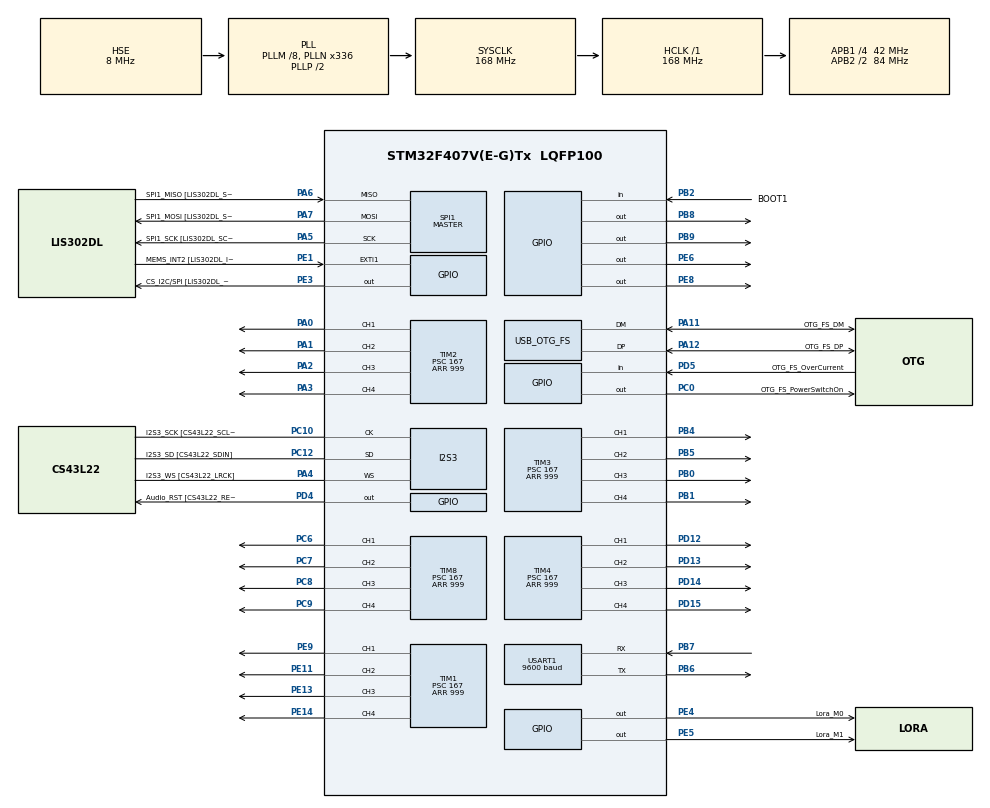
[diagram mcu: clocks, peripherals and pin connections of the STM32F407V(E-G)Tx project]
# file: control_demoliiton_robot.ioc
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I2S3.ErrorAudioFreq=0.0 %
I2S3.FullDuplexMode=I2S_FULLDUPLEXMODE_DISABLE
I2S3.Instance=SPI$Index
I2S3.RealAudioFreq=8.0 KHz
I2S3.VirtualMode=I2S_MODE_MASTER
Mcu.Family=STM32F4
Mcu.Name=STM32F407V(E-G)Tx
Mcu.Package=LQFP100
NVIC.OTG_FS_IRQn=true\:0\:0\:false\:false\:true\:true\:true\:true
NVIC.PriorityGroup=NVIC_PRIORITYGROUP_0
NVIC.USART1_IRQn=true\:0\:0\:false\:false\:true\:true\:true\:true
PA0-WKUP.Signal=S_TIM2_CH1_ETR
PA1.GPIO_Speed=GPIO_SPEED_FREQ_VERY_HIGH
PA1.Signal=S_TIM2_CH2
PA11.GPIO_Label=OTG_FS_DM
PA11.GPIO_Mode=GPIO_MODE_AF_PP
PA11.GPIO_PuPd=GPIO_NOPULL
PA11.GPIO_Speed=GPIO_SPEED_FREQ_LOW
PA11.Mode=Device_Only
PA11.Signal=USB_OTG_FS_DM
PA12.GPIO_Label=OTG_FS_DP
PA12.GPIO_Mode=GPIO_MODE_AF_PP
PA12.GPIO_PuPd=GPIO_NOPULL
PA12.GPIO_Speed=GPIO_SPEED_FREQ_LOW
PA12.Mode=Device_Only
PA12.Signal=USB_OTG_FS_DP
PA13.GPIO_Label=SWDIO
PA13.Mode=Serial_Wire
PA13.Signal=SYS_JTMS-SWDIO
PA14.GPIO_Label=SWCLK
PA14.Mode=Serial_Wire
PA14.Signal=SYS_JTCK-SWCLK
PA2.Signal=S_TIM2_CH3
PA3.Signal=S_TIM2_CH4
PA4.GPIO_Label=I2S3_WS [CS43L22_LRCK]
PA4.GPIO_Mode=GPIO_MODE_AF_PP
PA4.GPIO_PuPd=GPIO_NOPULL
PA4.GPIO_Speed=GPIO_SPEED_FREQ_LOW
PA4.Mode=Half_Duplex_Master
PA4.Signal=I2S3_WS
PA5.GPIO_Label=SPI1_SCK [LIS302DL_SCL/SPC]
PA5.GPIO_Mode=GPIO_MODE_AF_PP
PA5.GPIO_PuPd=GPIO_NOPULL
PA5.GPIO_Speed=GPIO_SPEED_FREQ_LOW
PA5.Mode=Full_Duplex_Master
PA5.Signal=SPI1_SCK
PA6.GPIO_Label=SPI1_MISO [LIS302DL_SDO]
PA6.GPIO_Mode=GPIO_MODE_AF_PP
PA6.GPIO_PuPd=GPIO_NOPULL
PA6.GPIO_Speed=GPIO_SPEED_FREQ_LOW
PA6.Mode=Full_Duplex_Master
PA6.Signal=SPI1_MISO
PA7.GPIO_Label=SPI1_MOSI [LIS302DL_SDA/SDI/SDO]
PA7.GPIO_Mode=GPIO_MODE_AF_PP
PA7.GPIO_PuPd=GPIO_NOPULL
PA7.GPIO_Speed=GPIO_SPEED_FREQ_LOW
PA7.Mode=Full_Duplex_Master
PA7.Signal=SPI1_MOSI
PB0.GPIO_Speed=GPIO_SPEED_FREQ_HIGH
PB0.Signal=S_TIM3_CH3
PB1.Signal=S_TIM3_CH4
PB10.GPIO_Label=CLK_IN [MP45DT02_CLK]
PB10.GPIO_Mode=GPIO_MODE_AF_PP
PB10.GPIO_PuPd=GPIO_NOPULL
PB10.GPIO_Speed=GPIO_SPEED_FREQ_LOW
PB10.Signal=I2S2_CK
PB2.GPIO_Label=BOOT1
PB2.GPIO_Mode=GPIO_MODE_INPUT
PB2.GPIO_PuPd=GPIO_NOPULL
PB2.Signal=GPIO_Input
PB3.GPIO_Label=SWO
PB3.Signal=SYS_JTDO-SWO
PB4.Signal=S_TIM3_CH1
PB5.Signal=S_TIM3_CH2
PB6.Mode=Asynchronous
PB6.Signal=USART1_TX
PB7.Mode=Asynchronous
PB7.Signal=USART1_RX
PB8.Signal=GPIO_Output
PB9.Signal=GPIO_Output
PC0.GPIO_Label=OTG_FS_PowerSwitchOn
PC0.GPIO_PuPd=GPIO_NOPULL
PC0.GPIO_Speed=GPIO_SPEED_FREQ_LOW
PC0.PinState=GPIO_PIN_SET
PC0.Signal=GPIO_Output
PC10.GPIO_Label=I2S3_SCK [CS43L22_SCLK]
PC10.GPIO_Mode=GPIO_MODE_AF_PP
PC10.GPIO_PuPd=GPIO_NOPULL
PC10.GPIO_Speed=GPIO_SPEED_FREQ_LOW
PC10.Mode=Half_Duplex_Master
PC10.Signal=I2S3_CK
PC12.GPIO_Label=I2S3_SD [CS43L22_SDIN]
PC12.GPIO_Mode=GPIO_MODE_AF_PP
PC12.GPIO_PuPd=GPIO_NOPULL
PC12.GPIO_Speed=GPIO_SPEED_FREQ_LOW
PC12.Mode=Half_Duplex_Master
PC12.Signal=I2S3_SD
PC14-OSC32_IN.GPIO_Label=PC14-OSC32_IN
PC14-OSC32_IN.Mode=LSE-External-Oscillator
PC14-OSC32_IN.Signal=RCC_OSC32_IN
PC15-OSC32_OUT.GPIO_Label=PC15-OSC32_OUT
PC15-OSC32_OUT.Mode=LSE-External-Oscillator
PC15-OSC32_OUT.Signal=RCC_OSC32_OUT
PC3.GPIO_Label=PDM_OUT [MP45DT02_DOUT]
PC3.GPIO_Mode=GPIO_MODE_AF_PP
PC3.GPIO_PuPd=GPIO_NOPULL
PC3.GPIO_Speed=GPIO_SPEED_FREQ_LOW
PC3.Signal=I2S2_SD
PC6.Signal=S_TIM8_CH1
PC7.Signal=S_TIM8_CH2
PC8.Signal=S_TIM8_CH3
PC9.Signal=S_TIM8_CH4
PD12.Signal=S_TIM4_CH1
PD13.Signal=S_TIM4_CH2
PD14.Signal=S_TIM4_CH3
PD15.Signal=S_TIM4_CH4
PD4.GPIO_Label=Audio_RST [CS43L22_RESET]
PD4.GPIO_PuPd=GPIO_NOPULL
PD4.GPIO_Speed=GPIO_SPEED_FREQ_LOW
PD4.Signal=GPIO_Output
PD5.GPIO_Label=OTG_FS_OverCurrent
PD5.GPIO_Mode=GPIO_MODE_INPUT
PD5.GPIO_PuPd=GPIO_NOPULL
PD5.Signal=GPIO_Input
PE1.GPIO_Label=MEMS_INT2 [LIS302DL_INT2]
PE1.GPIO_ModeDefaultEXTI=GPIO_MODE_EVT_RISING
PE1.GPIO_PuPd=GPIO_NOPULL
PE1.Signal=GPXTI1
PE11.Signal=S_TIM1_CH2
PE13.Signal=S_TIM1_CH3
PE14.Signal=S_TIM1_CH4
PE3.GPIO_Label=CS_I2C/SPI [LIS302DL_CS_I2C/SPI]
PE3.GPIO_PuPd=GPIO_NOPULL
PE3.GPIO_Speed=GPIO_SPEED_FREQ_LOW
PE3.Signal=GPIO_Output
PE4.GPIO_Label=Lora_M0
PE4.Signal=GPIO_Output
PE5.GPIO_Label=Lora_M1
PE5.Signal=GPIO_Output
PE6.Signal=GPIO_Output
PE8.Signal=GPIO_Output
PE9.GPIO_Speed=GPIO_SPEED_FREQ_HIGH
PE9.Signal=S_TIM1_CH1
PH0-OSC_IN.GPIO_Label=PH0-OSC_IN
PH0-OSC_IN.Mode=HSE-External-Oscillator
PH0-OSC_IN.Signal=RCC_OSC_IN
PH1-OSC_OUT.GPIO_Label=PH1-OSC_OUT
PH1-OSC_OUT.Mode=HSE-External-Oscillator
PH1-OSC_OUT.Signal=RCC_OSC_OUT
ProjectManager.HeapSize=0x200
ProjectManager.StackSize=0x400
ProjectManager.TargetToolchain=STM32CubeIDE
RCC.48MHZClocksFreq_Value=48000000
RCC.AHBFreq_Value=168000000
RCC.APB1CLKDivider=RCC_HCLK_DIV4
RCC.APB1Freq_Value=42000000
RCC.APB1TimFreq_Value=84000000
RCC.APB2CLKDivider=RCC_HCLK_DIV2
RCC.APB2Freq_Value=84000000
RCC.APB2TimFreq_Value=168000000
RCC.CortexFreq_Value=168000000
RCC.HCLKFreq_Value=168000000
RCC.HSE_VALUE=8000000
RCC.HSI_VALUE=16000000
RCC.PLLM=8
RCC.PLLN=336
RCC.PLLQ=7
RCC.SYSCLKFreq_VALUE=168000000
RCC.SYSCLKSource=RCC_SYSCLKSOURCE_PLLCLK
RCC.VCOOutputFreq_Value=336000000
SH.S_TIM1_CH1.0=TIM1_CH1,PWM Generation1 CH1
SH.S_TIM1_CH2.0=TIM1_CH2,PWM Generation2 CH2
SH.S_TIM1_CH3.0=TIM1_CH3,PWM Generation3 CH3
SH.S_TIM1_CH4.0=TIM1_CH4,Output Compare4 CH4
SH.S_TIM2_CH1_ETR.0=TIM2_CH1,PWM Generation1 CH1
SH.S_TIM2_CH2.0=TIM2_CH2,PWM Generation2 CH2
SH.S_TIM2_CH3.0=TIM2_CH3,PWM Generation3 CH3
SH.S_TIM2_CH4.0=TIM2_CH4,PWM Generation4 CH4
SH.S_TIM3_CH1.0=TIM3_CH1,PWM Generation1 CH1
SH.S_TIM3_CH2.0=TIM3_CH2,PWM Generation2 CH2
SH.S_TIM3_CH3.0=TIM3_CH3,PWM Generation3 CH3
SH.S_TIM3_CH4.0=TIM3_CH4,PWM Generation4 CH4
SH.S_TIM4_CH1.0=TIM4_CH1,PWM Generation1 CH1
SH.S_TIM4_CH2.0=TIM4_CH2,PWM Generation2 CH2
SH.S_TIM4_CH3.0=TIM4_CH3,PWM Generation3 CH3
SH.S_TIM4_CH4.0=TIM4_CH4,PWM Generation4 CH4
SH.S_TIM8_CH1.0=TIM8_CH1,PWM Generation1 CH1
SH.S_TIM8_CH2.0=TIM8_CH2,PWM Generation2 CH2
SH.S_TIM8_CH3.0=TIM8_CH3,PWM Generation3 CH3
SH.S_TIM8_CH4.0=TIM8_CH4,PWM Generation4 CH4
SPI1.BaudRatePrescaler-Full_Duplex_Master=SPI_BAUDRATEPRESCALER_2
SPI1.CalculateBaudRate-Full_Duplex_Master=42.0 MBits/s
SPI1.Direction=SPI_DIRECTION_2LINES
SPI1.Mode=SPI_MODE_MASTER
SPI1.Mode-Full_Duplex_Master=SPI_MODE_MASTER
SPI1.VirtualType=VM_MASTER
TIM1.Channel-Output\ Compare4\ CH4=TIM_CHANNEL_4
TIM1.Channel-PWM\ Generation1\ CH1=TIM_CHANNEL_1
TIM1.Channel-PWM\ Generation2\ CH2=TIM_CHANNEL_2
TIM1.Channel-PWM\ Generation3\ CH3=TIM_CHANNEL_3
TIM1.Period=999
TIM1.Prescaler=167
TIM2.Channel-PWM\ Generation1\ CH1=TIM_CHANNEL_1
TIM2.Channel-PWM\ Generation2\ CH2=TIM_CHANNEL_2
TIM2.Channel-PWM\ Generation3\ CH3=TIM_CHANNEL_3
TIM2.Channel-PWM\ Generation4\ CH4=TIM_CHANNEL_4
TIM2.Period=999
TIM2.Prescaler=167
TIM3.Channel-PWM\ Generation1\ CH1=TIM_CHANNEL_1
TIM3.Channel-PWM\ Generation2\ CH2=TIM_CHANNEL_2
TIM3.Channel-PWM\ Generation3\ CH3=TIM_CHANNEL_3
TIM3.Channel-PWM\ Generation4\ CH4=TIM_CHANNEL_4
TIM3.Period=999
TIM3.Prescaler=167
TIM4.Channel-PWM\ Generation1\ CH1=TIM_CHANNEL_1
TIM4.Channel-PWM\ Generation2\ CH2=TIM_CHANNEL_2
TIM4.Channel-PWM\ Generation3\ CH3=TIM_CHANNEL_3
TIM4.Channel-PWM\ Generation4\ CH4=TIM_CHANNEL_4
TIM4.Period=999
TIM4.Prescaler=167
TIM8.Channel-PWM\ Generation1\ CH1=TIM_CHANNEL_1
TIM8.Channel-PWM\ Generation2\ CH2=TIM_CHANNEL_2
TIM8.Channel-PWM\ Generation3\ CH3=TIM_CHANNEL_3
TIM8.Channel-PWM\ Generation4\ CH4=TIM_CHANNEL_4
TIM8.Period=999
TIM8.Prescaler=167
USART1.BaudRate=9600
USART1.VirtualMode=VM_ASYNC
USB_DEVICE.CLASS_NAME_FS=CDC
USB_DEVICE.VirtualMode-CDC_FS=Cdc
USB_DEVICE.VirtualModeFS=Cdc_FS
USB_OTG_FS.VirtualMode=Device_Only
VP_TIM1_VS_ClockSourceINT.Mode=Internal
VP_TIM2_VS_ClockSourceINT.Mode=Internal
VP_TIM3_VS_ClockSourceINT.Mode=Internal
VP_TIM4_VS_ClockSourceINT.Mode=Internal
VP_TIM8_VS_ClockSourceINT.Mode=Internal
VP_USB_DEVICE_VS_USB_DEVICE_CDC_FS.Mode=CDC_FS
board=STM32F407G-DISC1

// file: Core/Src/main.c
 /* USER CODE BEGIN Header */
/**
  ******************************************************************************
  * @file           : main.c
  * @brief          : LoRa Receiver Main Program (STM32F401CCU6)
  ******************************************************************************
  */
/* USER CODE END Header */
#include "main.h"
#include "i2s.h"
#include "spi.h"
#include "tim.h"
#include "usart.h"
#include "usb_device.h"
#include "gpio.h"

/* USER CODE BEGIN Includes */
#include "lora.h"
#include "control.h"
#include "pwm.h"
#include "usbd_cdc_if.h"
#include <stdio.h>
#include <string.h>
/* USER CODE END Includes */

/* USER CODE BEGIN PV */
LoRa_ReceivedData_t lora_data;
/* USER CODE END PV */

void SystemClock_Config(void);

/* USER CODE BEGIN 0 */

/**
  * @brief  UART receive complete callback
  * @param  huart: UART handle
  * @retval None
  */
void HAL_UART_RxCpltCallback(UART_HandleTypeDef *huart)
{
    if (huart->Instance == USART1)
    {
        LoRa_Receiver_IRQHandler();
    }
}

/* USER CODE END 0 */

int main(void)
{

  /* MCU Configuration--------------------------------------------------------*/

  /* Reset of all peripherals, Initializes the Flash interface and the Systick. */
  HAL_Init();

  /* Configure the system clock */
  SystemClock_Config();

  /* Initialize all configured peripherals */
  MX_GPIO_Init();
  MX_I2S3_Init();
  MX_SPI1_Init();
  MX_USART1_UART_Init();
  MX_USB_DEVICE_Init();
  MX_TIM1_Init();
  MX_TIM2_Init();
  MX_TIM3_Init();
  MX_TIM4_Init();
  MX_TIM8_Init();
  /* USER CODE BEGIN 2 */

  // ========================================================================
  // SAFETY FEATURE: Communication Timeout Watchdog
  // ========================================================================
  // If no data received from transmitter for COMM_TIMEOUT_MS,
  // smoothly transition all PWM outputs to 0 to prevent runaway robot!
  #define COMM_TIMEOUT_MS         500     // 500ms timeout (10 missed packets @ 50ms rate)
  #define SAFETY_TRANSITION_STEPS 20      // 20 steps for smooth transition to 0

  uint32_t last_data_received_time = 0;   // Timestamp of last valid LoRa packet
  uint8_t safety_mode_active = 0;         // 1 = timeout detected, transitioning to safe state
  uint8_t safety_transition_step = 0;     // Current step in smooth transition (0-20)
  uint8_t pwm_backup[PWM_CHANNEL_COUNT];  // Backup of PWM values before safety transition

  // Initialize M0 and M1 pins for LoRa configuration
  GPIO_InitTypeDef GPIO_InitStruct = {0};
  GPIO_InitStruct.Pin = GPIO_PIN_4 | GPIO_PIN_5;  // PE4=M0, PE5=M1
  GPIO_InitStruct.Mode = GPIO_MODE_OUTPUT_PP;
  GPIO_InitStruct.Pull = GPIO_NOPULL;
  GPIO_InitStruct.Speed = GPIO_SPEED_FREQ_LOW;
  HAL_GPIO_Init(GPIOE, &GPIO_InitStruct);

  // Initialize LoRa receiver
  LoRa_Receiver_Init(&huart1, GPIOE, GPIO_PIN_4, GPIOE, GPIO_PIN_5);

  // Wait for USB to be ready (reduced from 2000ms)
  HAL_Delay(1000);

  // Send startup message to USB
  char *startup_msg = "\r\n=================================\r\n";
  CDC_Transmit_FS((uint8_t*)startup_msg, strlen(startup_msg));
  HAL_Delay(20);

  char *title_msg = "   LoRa Receiver Started\r\n";
  CDC_Transmit_FS((uint8_t*)title_msg, strlen(title_msg));
  HAL_Delay(20);

  char *port_msg = "   STM32F401CCU6 - UART1\r\n";
  CDC_Transmit_FS((uint8_t*)port_msg, strlen(port_msg));
  HAL_Delay(20);

  char *pin_msg = "   RX: PA10 | TX: PA9\r\n";
  CDC_Transmit_FS((uint8_t*)pin_msg, strlen(pin_msg));
  HAL_Delay(20);

  char *end_msg = "=================================\r\n\r\n";
  CDC_Transmit_FS((uint8_t*)end_msg, strlen(end_msg));
  HAL_Delay(50);

  // Configure LoRa module
  char *config_msg = "Configuring LoRa...\r\n";
  CDC_Transmit_FS((uint8_t*)config_msg, strlen(config_msg));

  if (LoRa_Receiver_Configure())
  {
      char *success_msg = "LoRa configured successfully!\r\n\r\n";
      CDC_Transmit_FS((uint8_t*)success_msg, strlen(success_msg));
  }
  else
  {
      char *fail_msg = "LoRa configuration failed!\r\n\r\n";
      CDC_Transmit_FS((uint8_t*)fail_msg, strlen(fail_msg));
  }

  HAL_Delay(50);

  // Send startup info
  char *format_msg = "Format: JL:x,y,b1,b2 JR:x,y,b1,b2 POT:R8=x,R1=x SW:S0=x,S1=xx,S2=xx,S4=xx,S5=xx\r\n\r\n";
  CDC_Transmit_FS((uint8_t*)format_msg, strlen(format_msg));

  HAL_Delay(50);

  char *waiting_msg = "Waiting for LoRa data...\r\n\r\n";
  CDC_Transmit_FS((uint8_t*)waiting_msg, strlen(waiting_msg));
  HAL_Delay(50);

  // Start listening for LoRa data
  LoRa_Receiver_StartListening();

  // Initialize control system (PWM outputs)
  Control_Init();

  char *control_msg = "Control system initialized - Ready!\r\n\r\n";
  CDC_Transmit_FS((uint8_t*)control_msg, strlen(control_msg));
  HAL_Delay(50);

  // Initialize safety timeout - give transmitter time to start (1 second grace period)
  last_data_received_time = HAL_GetTick();

  /* USER CODE END 2 */

  /* Infinite loop */
  while (1)
  {

    /* USER CODE BEGIN 3 */

    // ========================================================================
    // COMMUNICATION TIMEOUT SAFETY WATCHDOG
    // ========================================================================
    uint32_t current_time = HAL_GetTick();
    uint32_t time_since_last_data = current_time - last_data_received_time;

    // Check if new data is available
    if (LoRa_Receiver_IsDataAvailable())
    {
      // Get received data
      if (LoRa_Receiver_GetData(&lora_data))
      {
        // Update timestamp - we received valid data!
        last_data_received_time = current_time;

        // If recovering from safety mode, restore normal operation
        if (safety_mode_active)
        {
          safety_mode_active = 0;
          safety_transition_step = 0;
          // PWM will be restored by Control_Update() below

          // EXIT SLEEP MODE: Set PB8 to LOW (normal mode)
          GPIOB->BSRR = (1<<(8+16));  // BR8 = reset PB8 to LOW

          // Send recovery message to USB
          char *recovery_msg = "\r\n*** COMM RESTORED! Resuming normal operation ***\r\n";
          CDC_Transmit_FS((uint8_t*)recovery_msg, strlen(recovery_msg));
        }

        // Update control outputs based on received data (normal operation)
        Control_Update(&lora_data);

        // Print to USB less frequently to avoid blocking
        // USB CDC_Transmit is SLOW and can cause delay if called too often
        static uint8_t usb_counter = 0;
        if (++usb_counter >= 10)  // Print USB every 10 packets (500ms) to minimize blocking
        {
          usb_counter = 0;

          // Format human-readable string (matching transmitter format)
          char output_buffer[200];
          int len = snprintf(output_buffer, sizeof(output_buffer),
                             "JL:%03d,%03d,%d,%d JR:%03d,%03d,%d,%d POT:R8=%d,R1=%d SW:S0=%d,S1=%d%d,S2=%d%d,S4=%d%d,S5=%d%d\r\n",
                             lora_data.joy_left_x,
                             lora_data.joy_left_y,
                             lora_data.joy_left_btn1,
                             lora_data.joy_left_btn2,
                             lora_data.joy_right_x,
                             lora_data.joy_right_y,
                             lora_data.joy_right_btn1,
                             lora_data.joy_right_btn2,
                             lora_data.r8,
                             lora_data.r1,
                             lora_data.s0,
                             lora_data.s1_1,
                             lora_data.s1_2,
                             lora_data.s2_1,
                             lora_data.s2_2,
                             lora_data.s4_1,
                             lora_data.s4_2,
                             lora_data.s5_1,
                             lora_data.s5_2);

          // Forward to USB CDC (print every 10th packet to minimize blocking delay)
          CDC_Transmit_FS((uint8_t*)output_buffer, len);
        }
        // Data is still received every 50ms via LoRa realtime - just not printed every time
      }
    }

    // ========================================================================
    // SAFETY TIMEOUT: Smooth transition to 0 if no data received
    // ========================================================================
    else if (time_since_last_data > COMM_TIMEOUT_MS)
    {
      // TIMEOUT DETECTED! No data received for more than 500ms
      // Smoothly transition all PWM outputs to 0 to prevent runaway robot

      if (!safety_mode_active)
      {
        // First time entering safety mode - backup current PWM values
        safety_mode_active = 1;
        safety_transition_step = 0;

        for (uint8_t i = 0; i < PWM_CHANNEL_COUNT; i++)
        {
          pwm_backup[i] = PWM_GetDutyCycle((PWM_Channel_t)i);
        }

        // ENTER SLEEP MODE: Set PB8 to HIGH, PE6 to LOW
        GPIOB->BSRR = (1<<8);       // BS8 = set PB8 to HIGH
        GPIOE->BSRR = (1<<(6+16));  // BR6 = reset PE6 to LOW

        // Send warning message to USB
        char *warning_msg = "\r\n*** COMM TIMEOUT! Entering sleep mode ***\r\n";
        CDC_Transmit_FS((uint8_t*)warning_msg, strlen(warning_msg));
      }

      // Smooth transition: Gradually reduce all PWM to 0 over 20 steps
      // Each step runs every 10ms (in main loop), total transition = 200ms
      static uint32_t last_transition_step = 0;
      if (HAL_GetTick() - last_transition_step >= 10)  // 10ms per step
      {
        last_transition_step = HAL_GetTick();

        if (safety_transition_step < SAFETY_TRANSITION_STEPS)
        {
          safety_transition_step++;

          // Calculate transition factor (1.0 → 0.0)
          float factor = 1.0f - ((float)safety_transition_step / (float)SAFETY_TRANSITION_STEPS);

          // Apply smooth transition to all PWM channels
          for (uint8_t i = 0; i < PWM_CHANNEL_COUNT; i++)
          {
            uint8_t new_duty = (uint8_t)(pwm_backup[i] * factor);
            PWM_SetDutyCycle((PWM_Channel_t)i, new_duty);
          }
        }
        else
        {
          // Transition complete - force all PWM to exact 0
          PWM_StopAll();
        }
      }
    }

    // ========================================================================
    // Send PWM data via USB CDC for monitoring
    // Send every 100ms (10Hz) - independent of LoRa packet rate
    // ========================================================================
    static uint32_t last_pwm_send = 0;
    if (HAL_GetTick() - last_pwm_send >= 100)
    {
      last_pwm_send = HAL_GetTick();

      // Create binary packet: Header(2) + PWM Data(20) + Checksum(1) = 23 bytes
      uint8_t pwm_packet[23];
      pwm_packet[0] = 0xAA;  // Header byte 1
      pwm_packet[1] = 0x55;  // Header byte 2

      // Get all 20 PWM duty cycle values (0-100%)
      for (uint8_t i = 0; i < 20; i++)
      {
        pwm_packet[2 + i] = PWM_GetDutyCycle((PWM_Channel_t)i);
      }

      // Calculate XOR checksum of PWM data bytes
      uint8_t checksum = 0;
      for (uint8_t i = 2; i < 22; i++)
      {
        checksum ^= pwm_packet[i];
      }
      pwm_packet[22] = checksum;

      // Send packet via USB CDC
      CDC_Transmit_FS(pwm_packet, 23);
    }

    // No delay here - process LoRa data immediately without blocking
  }
  /* USER CODE END 3 */
}

void SystemClock_Config(void)
{
  RCC_OscInitTypeDef RCC_OscInitStruct = {0};
  RCC_ClkInitTypeDef RCC_ClkInitStruct = {0};

  /** Configure the main internal regulator output voltage
  */
  __HAL_RCC_PWR_CLK_ENABLE();
  __HAL_PWR_VOLTAGESCALING_CONFIG(PWR_REGULATOR_VOLTAGE_SCALE1);

  /** Initializes the RCC Oscillators according to the specified parameters
  * in the RCC_OscInitTypeDef structure.
  */
  RCC_OscInitStruct.OscillatorType = RCC_OSCILLATORTYPE_HSE;
  RCC_OscInitStruct.HSEState = RCC_HSE_ON;
  RCC_OscInitStruct.PLL.PLLState = RCC_PLL_ON;
  RCC_OscInitStruct.PLL.PLLSource = RCC_PLLSOURCE_HSE;
  RCC_OscInitStruct.PLL.PLLM = 8;
  RCC_OscInitStruct.PLL.PLLN = 336;
  RCC_OscInitStruct.PLL.PLLP = RCC_PLLP_DIV2;
  RCC_OscInitStruct.PLL.PLLQ = 7;
  if (HAL_RCC_OscConfig(&RCC_OscInitStruct) != HAL_OK)
  {
    Error_Handler();
  }

  /** Initializes the CPU, AHB and APB buses clocks
  */
  RCC_ClkInitStruct.ClockType = RCC_CLOCKTYPE_HCLK|RCC_CLOCKTYPE_SYSCLK
                              |RCC_CLOCKTYPE_PCLK1|RCC_CLOCKTYPE_PCLK2;
  RCC_ClkInitStruct.SYSCLKSource = RCC_SYSCLKSOURCE_PLLCLK;
  RCC_ClkInitStruct.AHBCLKDivider = RCC_SYSCLK_DIV1;
  RCC_ClkInitStruct.APB1CLKDivider = RCC_HCLK_DIV4;
  RCC_ClkInitStruct.APB2CLKDivider = RCC_HCLK_DIV2;

  if (HAL_RCC_ClockConfig(&RCC_ClkInitStruct, FLASH_LATENCY_5) != HAL_OK)
  {
    Error_Handler();
  }
}

void Error_Handler(void)
{
  __disable_irq();
  while (1)
  {
  }
}
